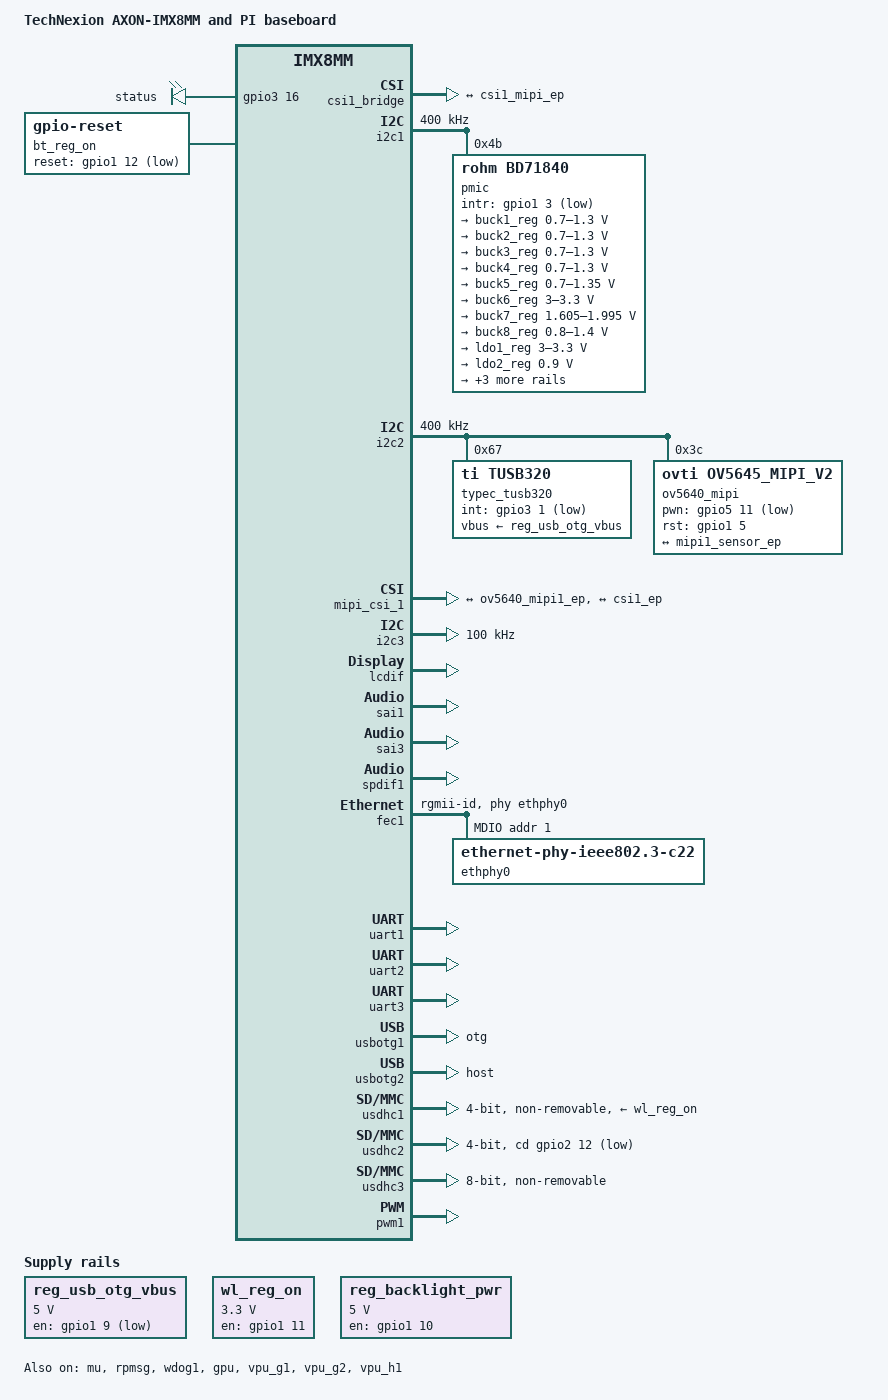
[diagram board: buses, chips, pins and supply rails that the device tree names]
/*
 * Copyright 2018 Technexion Ltd.
 * Copyright 2018 NXP
 *
 * Author: Richard Hu <richard.hu@technexion.com>
 *
 * This program is free software; you can redistribute it and/or
 * modify it under the terms of the GNU General Public License
 * as published by the Free Software Foundation; either version 2
 * of the License, or (at your option) any later version.
 *
 * This program is distributed in the hope that it will be useful,
 * but WITHOUT ANY WARRANTY; without even the implied warranty of
 * MERCHANTABILITY or FITNESS FOR A PARTICULAR PURPOSE.  See the
 * GNU General Public License for more details.
 */

/dts-v1/;

#include "fsl-imx8mm.dtsi"

/ {
	model = "TechNexion AXON-IMX8MM and PI baseboard";
	compatible = "fsl,imx8mm-axon", "fsl,imx8mm";

	chosen {
		bootargs = "console=ttymxc0,115200 earlycon=ec_imx6q,0x30860000,115200";
		stdout-path = &uart1;
	};

	leds {
		compatible = "gpio-leds";
		pinctrl-names = "default";
		pinctrl-0 = <&pinctrl_gpio_led>;

		status {
			label = "status";
			gpios = <&gpio3 16 0>;
			default-state = "on";
		};
	};

	bt_reg_on: btreg_on {
		compatible = "gpio-reset";
		pinctrl-names = "default";
		pinctrl-0 = <&pinctrl_bt_ctrl>;
		reset-gpios = <&gpio1 12 GPIO_ACTIVE_LOW>;
		reset-delay-us = <2000>;
		reset-post-delay-ms = <40>;
		#reset-cells = <0>;
	};

	regulators {
		compatible = "simple-bus";
		#address-cells = <1>;
		#size-cells = <0>;

		reg_usb_otg_vbus: usb_otg_vbus {
			pinctrl-names = "default";
			pinctrl-0 = <&pinctrl_otg_vbus>;
			compatible = "regulator-fixed";
			regulator-name = "usb_otg_vbus";
			regulator-min-microvolt = <5000000>;
			regulator-max-microvolt = <5000000>;
			gpio = <&gpio1 9 GPIO_ACTIVE_LOW>;
		};

		wl_reg_on: wlreg_on {
			compatible = "regulator-fixed";
			pinctrl-names = "default";
			pinctrl-0 = <&pinctrl_wifi_ctrl>;
			regulator-name = "WL_REG_ON";
			regulator-min-microvolt = <3300000>;
			regulator-max-microvolt = <3300000>;
			gpio = <&gpio1 11 GPIO_ACTIVE_HIGH>;
			off-on-delay = <20000>;
			startup-delay-us = <100>;
			enable-active-high;
		};

		reg_backlight_pwr: regulator_blpwr {
			pinctrl-names = "default";
			pinctrl-0 = <&pinctrl_backlight_pwr>;
			compatible = "regulator-fixed";
			regulator-name = "backlight_pwr";
			regulator-min-microvolt = <5000000>;
			regulator-max-microvolt = <5000000>;
			gpio = <&gpio1 10 GPIO_ACTIVE_HIGH>;
			enable-active-high;
		};
	};

	backlight_mipi {
		compatible = "pwm-backlight";
		pwms = <&pwm1 0 50000 0>;
		brightness-levels = <0 36 72 108 144 180 216 255>;
		default-brightness-level = <6>;
		power-supply = <&reg_backlight_pwr>;
		status = "disabled";
	};
};

&clk {
	assigned-clocks = <&clk IMX8MM_AUDIO_PLL1>, <&clk IMX8MM_AUDIO_PLL2>;
	assigned-clock-rates = <786432000>, <722534400>;
};

&iomuxc {
	pinctrl-names = "default";

	imx8mm-axon {
		pinctrl_otg_vbus: otgvbusgrp {
			fsl,pins = <
				MX8MM_IOMUXC_GPIO1_IO09_GPIO1_IO9		0x19   /* USB OTG VBUS Enable */
			>;
		};

		pinctrl_backlight_pwr: backlight_pwrgrp {
			fsl,pins = <
				MX8MM_IOMUXC_GPIO1_IO10_GPIO1_IO10		0x19
			>;
		};

		pinctrl_dsi_pwm: dsi_pwm {
			fsl,pins = <
				MX8MM_IOMUXC_GPIO1_IO01_PWM1_OUT		0x16	/* DSI PWM */
			>;
		};

		pinctrl_tusb320_irq: tusb320_irqgrp {
			fsl,pins = <
				MX8MM_IOMUXC_NAND_CE0_B_GPIO3_IO1		0x41
			>;
		};

		pinctrl_csi_pwn: csi_pwn_grp {
			fsl,pins = <
				MX8MM_IOMUXC_ECSPI2_MOSI_GPIO5_IO11		0x19
			>;
		};

		pinctrl_csi_rst: csi_rst_grp {
			fsl,pins = <
				MX8MM_IOMUXC_GPIO1_IO05_GPIO1_IO5		0x19
				MX8MM_IOMUXC_GPIO1_IO14_CCMSRCGPCMIX_CLKO1	0x59
			>;
		};

		pinctrl_mipi_dsi_rst: mipi_dsi_rst {
			fsl,pins = <
				MX8MM_IOMUXC_NAND_DATA03_GPIO3_IO9	0x16   /* DSI RST */
			>;
		};

		pinctrl_ft5336_touch_irq: ft5336_irqgrp {
			fsl,pins = <
				MX8MM_IOMUXC_GPIO1_IO07_GPIO1_IO7	0x19   /* Touch INT */
			>;
		};

		pinctrl_ft5336_touch_rst: ft5336_rstgrp {
			fsl,pins = <
				MX8MM_IOMUXC_SAI3_RXFS_GPIO4_IO28	0x16   /* GPIO_P42, Touch RST */
			>;
		};

		pinctrl_fec1: fec1grp {
			fsl,pins = <
				MX8MM_IOMUXC_ENET_MDC_ENET1_MDC		0x3
				MX8MM_IOMUXC_ENET_MDIO_ENET1_MDIO	0x3
				MX8MM_IOMUXC_ENET_TD3_ENET1_RGMII_TD3	0x1f
				MX8MM_IOMUXC_ENET_TD2_ENET1_RGMII_TD2	0x1f
				MX8MM_IOMUXC_ENET_TD1_ENET1_RGMII_TD1	0x1f
				MX8MM_IOMUXC_ENET_TD0_ENET1_RGMII_TD0	0x1f
				MX8MM_IOMUXC_ENET_RD3_ENET1_RGMII_RD3	0x91
				MX8MM_IOMUXC_ENET_RD2_ENET1_RGMII_RD2	0x91
				MX8MM_IOMUXC_ENET_RD1_ENET1_RGMII_RD1	0x91
				MX8MM_IOMUXC_ENET_RD0_ENET1_RGMII_RD0	0x91
				MX8MM_IOMUXC_ENET_TXC_ENET1_RGMII_TXC	0x1f
				MX8MM_IOMUXC_ENET_RXC_ENET1_RGMII_RXC	0x91
				MX8MM_IOMUXC_ENET_RX_CTL_ENET1_RGMII_RX_CTL	0x91
				MX8MM_IOMUXC_ENET_TX_CTL_ENET1_RGMII_TX_CTL	0x1f
				MX8MM_IOMUXC_SD1_RESET_B_GPIO2_IO10	0x19
			>;
		};

		pinctrl_flexspi0: flexspi0grp {
			fsl,pins = <
				MX8MM_IOMUXC_NAND_ALE_QSPI_A_SCLK		0x1c2
				MX8MM_IOMUXC_NAND_CE0_B_QSPI_A_SS0_B		0x82
				MX8MM_IOMUXC_NAND_DATA00_QSPI_A_DATA0		0x82
				MX8MM_IOMUXC_NAND_DATA01_QSPI_A_DATA1		0x82
				MX8MM_IOMUXC_NAND_DATA02_QSPI_A_DATA2		0x82
				MX8MM_IOMUXC_NAND_DATA03_QSPI_A_DATA3		0x82
			>;
		};

		pinctrl_gpio_led: gpioledgrp {
			fsl,pins = <
				MX8MM_IOMUXC_NAND_READY_B_GPIO3_IO16	0x19
			>;
		};

		pinctrl_i2c1: i2c1grp {
			fsl,pins = <
				MX8MM_IOMUXC_I2C1_SCL_I2C1_SCL			0x400001c3
				MX8MM_IOMUXC_I2C1_SDA_I2C1_SDA			0x400001c3
			>;
		};

		pinctrl_i2c2: i2c2grp {
			fsl,pins = <
				MX8MM_IOMUXC_I2C2_SCL_I2C2_SCL			0x400001c3
				MX8MM_IOMUXC_I2C2_SDA_I2C2_SDA			0x400001c3
			>;
		};

		pinctrl_i2c3: i2c3grp {
			fsl,pins = <
				MX8MM_IOMUXC_I2C3_SCL_I2C3_SCL			0x400001c3
				MX8MM_IOMUXC_I2C3_SDA_I2C3_SDA			0x400001c3
			>;
		};

		pinctrl_pcie0: pcie0grp {
			fsl,pins = <
				MX8MM_IOMUXC_I2C4_SCL_PCIE1_CLKREQ_B	0x61 /* open drain, pull up */
			>;
		};

		pinctrl_pmic: pmicirq {
			fsl,pins = <
				MX8MM_IOMUXC_GPIO1_IO03_GPIO1_IO3		0x41
			>;
		};

		pinctrl_typec1: typec1grp {
			fsl,pins = <
				MX8MM_IOMUXC_SD1_STROBE_GPIO2_IO11	0x159
			>;
		};

		pinctrl_sai1: sai1grp {
			fsl,pins = <
				MX8MM_IOMUXC_SAI1_MCLK_SAI1_MCLK	0xd6
				MX8MM_IOMUXC_SAI1_TXFS_SAI1_TX_SYNC	0xd6
				MX8MM_IOMUXC_SAI1_RXD7_SAI1_TX_SYNC	0xd6
				MX8MM_IOMUXC_SAI1_TXC_SAI1_TX_BCLK	0xd6
				MX8MM_IOMUXC_SAI1_TXD0_SAI1_TX_DATA0	0xd6
				MX8MM_IOMUXC_SAI1_TXD1_SAI1_TX_DATA1	0xd6
				MX8MM_IOMUXC_SAI1_TXD2_SAI1_TX_DATA2	0xd6
				MX8MM_IOMUXC_SAI1_TXD3_SAI1_TX_DATA3	0xd6
				MX8MM_IOMUXC_SAI1_TXD4_SAI1_TX_DATA4	0xd6
				MX8MM_IOMUXC_SAI1_TXD5_SAI1_TX_DATA5	0xd6
				MX8MM_IOMUXC_SAI1_TXD6_SAI1_TX_DATA6	0xd6
				MX8MM_IOMUXC_SAI1_TXD7_SAI1_TX_DATA7	0xd6
			>;
		};

		pinctrl_sai3: sai3grp {
			fsl,pins = <
				MX8MM_IOMUXC_SAI3_TXFS_SAI3_TX_SYNC     0xd6
				MX8MM_IOMUXC_SAI3_TXC_SAI3_TX_BCLK      0xd6
				MX8MM_IOMUXC_SAI3_MCLK_SAI3_MCLK        0xd6
				MX8MM_IOMUXC_SAI3_TXD_SAI3_TX_DATA0     0xd6
				MX8MM_IOMUXC_I2C4_SDA_GPIO5_IO21        0xd6
			>;
		};

		pinctrl_sai5: sai5grp {
			fsl,pins = <
				MX8MM_IOMUXC_SAI5_MCLK_SAI5_MCLK	0xd6
				MX8MM_IOMUXC_SAI5_RXC_SAI5_RX_BCLK	0xd6
				MX8MM_IOMUXC_SAI5_RXFS_SAI5_RX_SYNC	0xd6
				MX8MM_IOMUXC_SAI5_RXD0_SAI5_RX_DATA0	0xd6
				MX8MM_IOMUXC_SAI5_RXD1_SAI5_RX_DATA1    0xd6
				MX8MM_IOMUXC_SAI5_RXD2_SAI5_RX_DATA2    0xd6
				MX8MM_IOMUXC_SAI5_RXD3_SAI5_RX_DATA3    0xd6
			>;
		};

		pinctrl_spdif1: spdif1grp {
			fsl,pins = <
				MX8MM_IOMUXC_SPDIF_TX_SPDIF1_OUT	0xd6
				MX8MM_IOMUXC_SPDIF_RX_SPDIF1_IN		0xd6
			>;
		};

		pinctrl_uart1: uart1grp {
			fsl,pins = <
				MX8MM_IOMUXC_SAI2_RXC_UART1_DCE_RX	0x140
				MX8MM_IOMUXC_SAI2_RXFS_UART1_DCE_TX	0x140
			>;
		};

		pinctrl_uart2: uart2grp {
			fsl,pins = <
				MX8MM_IOMUXC_UART2_RXD_UART2_DCE_RX	0x140
				MX8MM_IOMUXC_UART2_TXD_UART2_DCE_TX	0x140
			>;
		};

		pinctrl_uart3: uart3grp {
			fsl,pins = <
				MX8MM_IOMUXC_ECSPI1_SCLK_UART3_DCE_RX		0x140
				MX8MM_IOMUXC_ECSPI1_MOSI_UART3_DCE_TX		0x140
				MX8MM_IOMUXC_ECSPI1_SS0_UART3_DCE_RTS_B		0x140
				MX8MM_IOMUXC_ECSPI1_MISO_UART3_DCE_CTS_B	0x140
			>;
		};

		pinctrl_wifi_ctrl: wifi_ctrlgrp {
			fsl,pins = <
				MX8MM_IOMUXC_GPIO1_IO11_GPIO1_IO11	0x41 /* WL_REG_ON */
			>;
		};

		pinctrl_bt_ctrl: bt_ctrlgrp {
			fsl,pins = <
				MX8MM_IOMUXC_GPIO1_IO12_GPIO1_IO12	0x41 /* BT_REG_ON */
			>;
		};

		pinctrl_usdhc1: usdhc1grp {
			fsl,pins = <
				MX8MM_IOMUXC_SD1_CLK_USDHC1_CLK		0x190
				MX8MM_IOMUXC_SD1_CMD_USDHC1_CMD		0x1d0
				MX8MM_IOMUXC_SD1_DATA0_USDHC1_DATA0	0x1d0
				MX8MM_IOMUXC_SD1_DATA1_USDHC1_DATA1	0x1d0
				MX8MM_IOMUXC_SD1_DATA2_USDHC1_DATA2	0x1d0
				MX8MM_IOMUXC_SD1_DATA3_USDHC1_DATA3	0x1d0
			>;
		};

		pinctrl_usdhc1_100mhz: usdhc1grp100mhz {
			fsl,pins = <
				MX8MM_IOMUXC_SD1_CLK_USDHC1_CLK		0x194
				MX8MM_IOMUXC_SD1_CMD_USDHC1_CMD		0x1d4
				MX8MM_IOMUXC_SD1_DATA0_USDHC1_DATA0	0x1d4
				MX8MM_IOMUXC_SD1_DATA1_USDHC1_DATA1	0x1d4
				MX8MM_IOMUXC_SD1_DATA2_USDHC1_DATA2	0x1d4
				MX8MM_IOMUXC_SD1_DATA3_USDHC1_DATA3	0x1d4
			>;
		};

		pinctrl_usdhc1_200mhz: usdhc1grp200mhz {
			fsl,pins = <
				MX8MM_IOMUXC_SD1_CLK_USDHC1_CLK		0x196
				MX8MM_IOMUXC_SD1_CMD_USDHC1_CMD		0x1d6
				MX8MM_IOMUXC_SD1_DATA0_USDHC1_DATA0	0x1d6
				MX8MM_IOMUXC_SD1_DATA1_USDHC1_DATA1	0x1d6
				MX8MM_IOMUXC_SD1_DATA2_USDHC1_DATA2	0x1d6
				MX8MM_IOMUXC_SD1_DATA3_USDHC1_DATA3	0x1d6
			>;
		};

		pinctrl_usdhc2_gpio: usdhc2grpgpio {
			fsl,pins = <
				MX8MM_IOMUXC_SD2_CD_B_GPIO2_IO12	0x1c4
			>;
		};

		pinctrl_usdhc2: usdhc2grp {
			fsl,pins = <
				MX8MM_IOMUXC_SD2_CLK_USDHC2_CLK		0x190
				MX8MM_IOMUXC_SD2_CMD_USDHC2_CMD		0x1d0
				MX8MM_IOMUXC_SD2_DATA0_USDHC2_DATA0	0x1d0
				MX8MM_IOMUXC_SD2_DATA1_USDHC2_DATA1	0x1d0
				MX8MM_IOMUXC_SD2_DATA2_USDHC2_DATA2	0x1d0
				MX8MM_IOMUXC_SD2_DATA3_USDHC2_DATA3	0x1d0
				MX8MM_IOMUXC_GPIO1_IO04_USDHC2_VSELECT	0x1d0
			>;
		};

		pinctrl_usdhc2_100mhz: usdhc2grp100mhz {
			fsl,pins = <
				MX8MM_IOMUXC_SD2_CLK_USDHC2_CLK		0x194
				MX8MM_IOMUXC_SD2_CMD_USDHC2_CMD		0x1d4
				MX8MM_IOMUXC_SD2_DATA0_USDHC2_DATA0	0x1d4
				MX8MM_IOMUXC_SD2_DATA1_USDHC2_DATA1	0x1d4
				MX8MM_IOMUXC_SD2_DATA2_USDHC2_DATA2	0x1d4
				MX8MM_IOMUXC_SD2_DATA3_USDHC2_DATA3	0x1d4
				MX8MM_IOMUXC_GPIO1_IO04_USDHC2_VSELECT	0x1d0
			>;
		};

		pinctrl_usdhc2_200mhz: usdhc2grp200mhz {
			fsl,pins = <
				MX8MM_IOMUXC_SD2_CLK_USDHC2_CLK		0x196
				MX8MM_IOMUXC_SD2_CMD_USDHC2_CMD		0x1d6
				MX8MM_IOMUXC_SD2_DATA0_USDHC2_DATA0	0x1d6
				MX8MM_IOMUXC_SD2_DATA1_USDHC2_DATA1	0x1d6
				MX8MM_IOMUXC_SD2_DATA2_USDHC2_DATA2	0x1d6
				MX8MM_IOMUXC_SD2_DATA3_USDHC2_DATA3	0x1d6
				MX8MM_IOMUXC_GPIO1_IO04_USDHC2_VSELECT	0x1d0
			>;
		};

		pinctrl_usdhc3: usdhc3grp {
			fsl,pins = <
				MX8MM_IOMUXC_NAND_WE_B_USDHC3_CLK		0x190
				MX8MM_IOMUXC_NAND_WP_B_USDHC3_CMD		0x1d0
				MX8MM_IOMUXC_NAND_DATA04_USDHC3_DATA0		0x1d0
				MX8MM_IOMUXC_NAND_DATA05_USDHC3_DATA1		0x1d0
				MX8MM_IOMUXC_NAND_DATA06_USDHC3_DATA2		0x1d0
				MX8MM_IOMUXC_NAND_DATA07_USDHC3_DATA3		0x1d0
				MX8MM_IOMUXC_NAND_RE_B_USDHC3_DATA4		0x1d0
				MX8MM_IOMUXC_NAND_CE2_B_USDHC3_DATA5		0x1d0
				MX8MM_IOMUXC_NAND_CE3_B_USDHC3_DATA6		0x1d0
				MX8MM_IOMUXC_NAND_CLE_USDHC3_DATA7		0x1d0
				MX8MM_IOMUXC_NAND_CE1_B_USDHC3_STROBE 		0x190
			>;
		};

		pinctrl_usdhc3_100mhz: usdhc3grp100mhz {
			fsl,pins = <
				MX8MM_IOMUXC_NAND_WE_B_USDHC3_CLK		0x194
				MX8MM_IOMUXC_NAND_WP_B_USDHC3_CMD		0x1d4
				MX8MM_IOMUXC_NAND_DATA04_USDHC3_DATA0		0x1d4
				MX8MM_IOMUXC_NAND_DATA05_USDHC3_DATA1		0x1d4
				MX8MM_IOMUXC_NAND_DATA06_USDHC3_DATA2		0x1d4
				MX8MM_IOMUXC_NAND_DATA07_USDHC3_DATA3		0x1d4
				MX8MM_IOMUXC_NAND_RE_B_USDHC3_DATA4		0x1d4
				MX8MM_IOMUXC_NAND_CE2_B_USDHC3_DATA5		0x1d4
				MX8MM_IOMUXC_NAND_CE3_B_USDHC3_DATA6		0x1d4
				MX8MM_IOMUXC_NAND_CLE_USDHC3_DATA7		0x1d4
				MX8MM_IOMUXC_NAND_CE1_B_USDHC3_STROBE 		0x194
			>;
		};

		pinctrl_usdhc3_200mhz: usdhc3grp200mhz {
			fsl,pins = <
				MX8MM_IOMUXC_NAND_WE_B_USDHC3_CLK		0x196
				MX8MM_IOMUXC_NAND_WP_B_USDHC3_CMD		0x1d6
				MX8MM_IOMUXC_NAND_DATA04_USDHC3_DATA0		0x1d6
				MX8MM_IOMUXC_NAND_DATA05_USDHC3_DATA1		0x1d6
				MX8MM_IOMUXC_NAND_DATA06_USDHC3_DATA2		0x1d6
				MX8MM_IOMUXC_NAND_DATA07_USDHC3_DATA3		0x1d6
				MX8MM_IOMUXC_NAND_RE_B_USDHC3_DATA4		0x1d6
				MX8MM_IOMUXC_NAND_CE2_B_USDHC3_DATA5		0x1d6
				MX8MM_IOMUXC_NAND_CE3_B_USDHC3_DATA6		0x1d6
				MX8MM_IOMUXC_NAND_CLE_USDHC3_DATA7		0x1d6
				MX8MM_IOMUXC_NAND_CE1_B_USDHC3_STROBE 		0x196
			>;
		};

		pinctrl_wdog: wdoggrp {
			fsl,pins = <
				MX8MM_IOMUXC_GPIO1_IO02_WDOG1_WDOG_B		0xc6
			>;
		};
	};
};

&csi1_bridge {
	fsl,mipi-mode;
	status = "okay";
	port {
		csi1_ep: endpoint {
			remote-endpoint = <&csi1_mipi_ep>;
		};
	};
};

&i2c1 {
	clock-frequency = <400000>;
	pinctrl-names = "default";
	pinctrl-0 = <&pinctrl_i2c1>;
	status = "okay";

	pmic: bd71837@4b {
		reg = <0x4b>;
		compatible = "rohm,bd71840", "rohm,bd71837";
		/* PMIC BD71837 PMIC_nINT GPIO1_IO3 */
		pinctrl-0 = <&pinctrl_pmic>;
		gpio_intr = <&gpio1 3 GPIO_ACTIVE_LOW>;

		gpo {
			rohm,drv = <0x0C>;	/* 0b0000_1100 all gpos with cmos output mode */
		};

		regulators {
			#address-cells = <1>;
			#size-cells = <0>;

			bd71837,pmic-buck2-uses-i2c-dvs;
			bd71837,pmic-buck2-dvs-voltage = <1000000>, <900000>, <0>; /* VDD_ARM: Run-Idle */

			buck1_reg: regulator@0 {
				reg = <0>;
				regulator-compatible = "buck1";
				regulator-min-microvolt = <700000>;
				regulator-max-microvolt = <1300000>;
				regulator-boot-on;
				regulator-always-on;
				regulator-ramp-delay = <1250>;
			};

			buck2_reg: regulator@1 {
				reg = <1>;
				regulator-compatible = "buck2";
				regulator-min-microvolt = <700000>;
				regulator-max-microvolt = <1300000>;
				regulator-boot-on;
				regulator-always-on;
				regulator-ramp-delay = <1250>;
			};

			buck3_reg: regulator@2 {
				reg = <2>;
				regulator-compatible = "buck3";
				regulator-min-microvolt = <700000>;
				regulator-max-microvolt = <1300000>;
			};

			buck4_reg: regulator@3 {
				reg = <3>;
				regulator-compatible = "buck4";
				regulator-min-microvolt = <700000>;
				regulator-max-microvolt = <1300000>;
			};

			buck5_reg: regulator@4 {
				reg = <4>;
				regulator-compatible = "buck5";
				regulator-min-microvolt = <700000>;
				regulator-max-microvolt = <1350000>;
				regulator-boot-on;
				regulator-always-on;
			};

			buck6_reg: regulator@5 {
				reg = <5>;
				regulator-compatible = "buck6";
				regulator-min-microvolt = <3000000>;
				regulator-max-microvolt = <3300000>;
				regulator-boot-on;
				regulator-always-on;
			};

			buck7_reg: regulator@6 {
				reg = <6>;
				regulator-compatible = "buck7";
				regulator-min-microvolt = <1605000>;
				regulator-max-microvolt = <1995000>;
				regulator-boot-on;
				regulator-always-on;
			};

			buck8_reg: regulator@7 {
				reg = <7>;
				regulator-compatible = "buck8";
				regulator-min-microvolt = <800000>;
				regulator-max-microvolt = <1400000>;
				regulator-boot-on;
				regulator-always-on;
			};

			ldo1_reg: regulator@8 {
				reg = <8>;
				regulator-compatible = "ldo1";
				regulator-min-microvolt = <3000000>;
				regulator-max-microvolt = <3300000>;
				regulator-boot-on;
				regulator-always-on;
			};

			ldo2_reg: regulator@9 {
				reg = <9>;
				regulator-compatible = "ldo2";
				regulator-min-microvolt = <900000>;
				regulator-max-microvolt = <900000>;
				regulator-boot-on;
				regulator-always-on;
			};

			ldo3_reg: regulator@10 {
				reg = <10>;
				regulator-compatible = "ldo3";
				regulator-min-microvolt = <1800000>;
				regulator-max-microvolt = <3300000>;
				regulator-boot-on;
				regulator-always-on;
			};

			ldo4_reg: regulator@11 {
				reg = <11>;
				regulator-compatible = "ldo4";
				regulator-min-microvolt = <900000>;
				regulator-max-microvolt = <1800000>;
				regulator-boot-on;
				regulator-always-on;
			};

			ldo6_reg: regulator@13 {
				reg = <13>;
				regulator-compatible = "ldo6";
				regulator-min-microvolt = <900000>;
				regulator-max-microvolt = <1800000>;
				regulator-boot-on;
				regulator-always-on;
			};
		};
	};
};

&i2c2 {
	clock-frequency = <400000>;
	pinctrl-names = "default";
	pinctrl-0 = <&pinctrl_i2c2>;
	status = "okay";

	typec_tusb320:tusb320@67 {
		compatible = "ti,tusb320";
		pinctrl-names = "default";
		pinctrl-0 = <&pinctrl_tusb320_irq>;
		reg = <0x67>;
		vbus-supply = <&reg_usb_otg_vbus>;
		tusb320,int-gpio = <&gpio3 1 GPIO_ACTIVE_LOW>;
		tusb320,select-mode = <0>;
		tusb320,dfp-power = <0>;
	};

	ov5640_mipi: ov5640_mipi@3c {
		compatible = "ovti,ov5645_mipi_v2";
		reg = <0x3c>;
		status = "okay";
		pinctrl-names = "default";
		pinctrl-0 = <&pinctrl_csi_pwn>, <&pinctrl_csi_rst>;
		clocks = <&clk IMX8MM_CLK_CLKO1_DIV>;
		clock-names = "csi_mclk";
		assigned-clocks = <&clk IMX8MM_CLK_CLKO1_SRC>,
				  <&clk IMX8MM_CLK_CLKO1_DIV>;
		assigned-clock-parents = <&clk IMX8MM_CLK_24M>;
		assigned-clock-rates = <0>, <24000000>;
		csi_id = <0>;
		pwn-gpios = <&gpio5 11 GPIO_ACTIVE_LOW>;
		rst-gpios = <&gpio1 5 GPIO_ACTIVE_HIGH>;
		mclk = <24000000>;
		mclk_source = <0>;
		port {
			ov5640_mipi1_ep: endpoint {
				remote-endpoint = <&mipi1_sensor_ep>;
			};
		};
	};
};


&mipi_csi_1 {
	#address-cells = <1>;
	#size-cells = <0>;
	status = "okay";
	port {
		mipi1_sensor_ep: endpoint1 {
			remote-endpoint = <&ov5640_mipi1_ep>;
			data-lanes = <2>;
			csis-hs-settle = <13>;
			csis-clk-settle = <2>;
			csis-wclk;
		};

		csi1_mipi_ep: endpoint2 {
			remote-endpoint = <&csi1_ep>;
		};
	};
};

&i2c3 {
	clock-frequency = <100000>;
	pinctrl-names = "default";
	pinctrl-0 = <&pinctrl_i2c3>;
	status = "okay";
};

&lcdif {
	status = "okay";
};

&mu {
	status = "okay";
};

&rpmsg{
	/*
	 * 64K for one rpmsg instance:
	 * --0xb8000000~0xb800ffff: pingpong
	 */
	vdev-nums = <1>;
	reg = <0x0 0xb8000000 0x0 0x10000>;
	status = "okay";
};

&sai1 {
	pinctrl-names = "default";
	pinctrl-0 = <&pinctrl_sai1>;
	assigned-clocks = <&clk IMX8MM_CLK_SAI1_SRC>,
			<&clk IMX8MM_CLK_SAI1_DIV>;
	assigned-clock-parents = <&clk IMX8MM_AUDIO_PLL1_OUT>;
	assigned-clock-rates = <0>, <49152000>;
	clocks = <&clk IMX8MM_CLK_SAI1_IPG>, <&clk IMX8MM_CLK_DUMMY>,
		<&clk IMX8MM_CLK_SAI1_ROOT>, <&clk IMX8MM_CLK_DUMMY>,
		<&clk IMX8MM_CLK_DUMMY>, <&clk IMX8MM_AUDIO_PLL1_OUT>,
		<&clk IMX8MM_AUDIO_PLL2_OUT>;
	clock-names = "bus", "mclk0", "mclk1", "mclk2", "mclk3", "pll8k", "pll11k";
	status = "okay";
};

&sai3 {
	pinctrl-names = "default";
	pinctrl-0 = <&pinctrl_sai3>;
	assigned-clocks = <&clk IMX8MM_CLK_SAI3_SRC>,
			<&clk IMX8MM_CLK_SAI3_DIV>;
	assigned-clock-parents = <&clk IMX8MM_AUDIO_PLL1_OUT>;
	assigned-clock-rates = <0>, <24576000>;
	status = "okay";
};

&spdif1 {
	pinctrl-names = "default";
	pinctrl-0 = <&pinctrl_spdif1>;
	assigned-clocks = <&clk IMX8MM_CLK_SPDIF1_SRC>,
			<&clk IMX8MM_CLK_SPDIF1_DIV>;
	assigned-clock-parents = <&clk IMX8MM_AUDIO_PLL1_OUT>;
	assigned-clock-rates = <0>, <24576000>;
	clocks = <&clk IMX8MM_CLK_AUDIO_AHB_DIV>, <&clk IMX8MM_CLK_24M>,
		<&clk IMX8MM_CLK_SPDIF1_DIV>, <&clk IMX8MM_CLK_DUMMY>,
		<&clk IMX8MM_CLK_DUMMY>, <&clk IMX8MM_CLK_DUMMY>,
		<&clk IMX8MM_CLK_AUDIO_AHB_DIV>, <&clk IMX8MM_CLK_DUMMY>,
		<&clk IMX8MM_CLK_DUMMY>, <&clk IMX8MM_CLK_DUMMY>,
		<&clk IMX8MM_AUDIO_PLL1_OUT>, <&clk IMX8MM_AUDIO_PLL2_OUT>;
	clock-names = "core", "rxtx0", "rxtx1", "rxtx2", "rxtx3",
		"rxtx4", "rxtx5", "rxtx6", "rxtx7", "spba", "pll8k", "pll11k";
	status = "okay";
};

&fec1 {
	pinctrl-names = "default";
	pinctrl-0 = <&pinctrl_fec1>;
	phy-mode = "rgmii-id";
	phy-handle = <&ethphy0>;
	fsl,magic-packet;
	status = "okay";

	mdio {
		#address-cells = <1>;
		#size-cells = <0>;

		ethphy0: ethernet-phy@1 {
			compatible = "ethernet-phy-ieee802.3-c22";
			reg = <1>;
			at803x,led-act-blind-workaround;
			at803x,eee-disabled;
		};
	};
};

&pcie0{
	pinctrl-names = "default";
	pinctrl-0 = <&pinctrl_pcie0>;
	disable-gpio = <&gpio1 5 GPIO_ACTIVE_LOW>;
	reset-gpio = <&gpio4 21 GPIO_ACTIVE_LOW>;
	ext_osc = <0>;
	status = "disabled";
};

&uart1 { /* BT */
	pinctrl-names = "default";
	pinctrl-0 = <&pinctrl_uart1>;
	assigned-clocks = <&clk IMX8MM_CLK_UART1_SRC>;
	assigned-clock-parents = <&clk IMX8MM_SYS_PLL1_80M>;
	fsl,uart-has-rtscts;
	resets = <&bt_reg_on>;
	status = "okay";
};

&uart2 { /* console */
	pinctrl-names = "default";
	pinctrl-0 = <&pinctrl_uart2>;
	status = "okay";
};

&uart3 {
	pinctrl-names = "default";
	pinctrl-0 = <&pinctrl_uart3>;
	assigned-clocks = <&clk IMX8MM_CLK_UART3_SRC>;
	assigned-clock-parents = <&clk IMX8MM_SYS_PLL1_80M>;
	fsl,uart-has-rtscts;
	status = "okay";
};

&usbotg1 {
	dr_mode = "otg";
	extcon = <0>, <&typec_tusb320>;
	picophy,pre-emp-curr-control = <3>;
	picophy,dc-vol-level-adjust = <7>;
	status = "okay";
};

&usbotg2 {
	dr_mode = "host";
	picophy,pre-emp-curr-control = <3>;
	picophy,dc-vol-level-adjust = <7>;
	status = "okay";
};

/* WIFI SDIO */
&usdhc1 {
	pinctrl-names = "default", "state_100mhz", "state_200mhz";
	pinctrl-0 = <&pinctrl_usdhc1>;
	pinctrl-1 = <&pinctrl_usdhc1_100mhz>;
	pinctrl-2 = <&pinctrl_usdhc1_200mhz>;
	vmmc-supply = <&wl_reg_on>;
	bus-width = <4>;
	no-1-8-v;
	pm-ignore-notify;
	keep-power-in-suspend;
	non-removable;
	status = "okay";
};

/* SD card on CLIX connector */
&usdhc2 {
	pinctrl-names = "default", "state_100mhz", "state_200mhz";
	pinctrl-0 = <&pinctrl_usdhc2>, <&pinctrl_usdhc2_gpio>;
	pinctrl-1 = <&pinctrl_usdhc2_100mhz>, <&pinctrl_usdhc2_gpio>;
	pinctrl-2 = <&pinctrl_usdhc2_200mhz>, <&pinctrl_usdhc2_gpio>;
	cd-gpios = <&gpio2 12 GPIO_ACTIVE_LOW>;
	bus-width = <4>;
	status = "okay";
};

/* eMMC on SOM */
&usdhc3 {
	pinctrl-names = "default", "state_100mhz", "state_200mhz";
	pinctrl-0 = <&pinctrl_usdhc3>;
	pinctrl-1 = <&pinctrl_usdhc3_100mhz>;
	pinctrl-2 = <&pinctrl_usdhc3_200mhz>;
	bus-width = <8>;
	non-removable;
	status = "okay";
};

&pwm1 {
	pinctrl-names = "default";
	pinctrl-0 = <&pinctrl_dsi_pwm>;
	status = "okay";
};

&wdog1 {
	pinctrl-names = "default";
	pinctrl-0 = <&pinctrl_wdog>;
	fsl,ext-reset-output;
	status = "okay";
};

&A53_0 {
	arm-supply = <&buck2_reg>;
};

&gpu {
	status = "okay";
};

&vpu_g1 {
	status = "okay";
};

&vpu_g2 {
	status = "okay";
};

&vpu_h1 {
	status = "okay";
};
